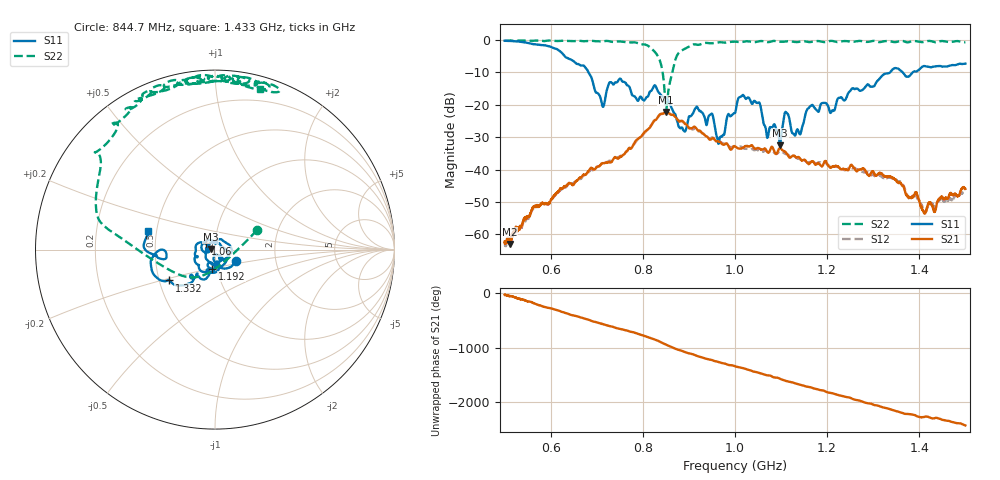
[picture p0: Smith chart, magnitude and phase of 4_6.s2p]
!Agilent Technologies,E8364B,US42250235,A.06.04.32
!Agilent E8364B: A.06.04.32
!Date: Thursday, October 01, 2020 11:19:05
!Correction: S11(Full 2 Port(1,2)) S21(Full 2 Port(1,2)) S12(Full 2 Port(1,2)) S22(Full 2 Port(1,2))
!S2P File: Measurements: S11, S21, S12, S22:
# Hz S  dB  R 50
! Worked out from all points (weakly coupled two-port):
!   2650 points, 500 MHz to 1.5 GHz, reference 50 ohm
!   highest |S21| = -22.19 dB at 849.6 MHz (marker M1); lowest = -62.9 dB at 511.3 MHz (marker M2)
!   lowest |S11| = -32.5 dB at 1.098 GHz (marker M3), VSWR 1.05, Z = 47.7 + j0.082 ohm
!   |S11| at or under -10 dB: 682 MHz to 1.336 GHz (654.2 MHz wide, 64.8 % of centre); 1.364 GHz to 1.385 GHz (21.28 MHz wide, 1.55 % of centre)
!   |S22| runs from -21.4 to -0.1 dB; largest |S21 - S12| = 0.007
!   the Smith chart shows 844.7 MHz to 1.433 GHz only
!   S11 on the Smith chart (normalised r, x): 844.7 MHz: 1.25, -0.16; 1.06 GHz: 0.90, +0.06; 1.192 GHz: 0.95, -0.20; 1.332 GHz: 0.57, -0.21; 1.433 GHz: 0.45, +0.11
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5e8  -0.19 -175.0  -62.26 -22.0  -62.27 -25.3  -0.22 136.3
5.11325e8  -0.25 178.6  -62.95 -46.4  -62.30 -48.7  -0.12 136.7
6.000378e8  -2.07 119.5  -49.44 87.2  -49.81 95.2  -0.14 129.3
6.668554e8  -7.86 74.5  -42.36 -86.5  -42.69 -74.0  -0.28 121.5
7.129105e8  -20.53 74.2  -37.97 155.0  -37.74 164.2  -0.39 111.5
7.499056e8  -11.93 69.9  -36.18 67.1  -35.85 73.0  -0.41 107.0
8.053983e8  -18.21 45.7  -28.22 -70.4  -28.43 -65.6  -1.38 82.0
8.337108e8  -16.03 -10.7  -23.45 -157.4  -23.65 -157.1  -5.27 46.6
8.446584e8  -17.63 -27.7  -22.68 158.7  -22.75 158.9  -11.80 24.8
8.495659e8  -17.63 -42.3  -22.19 138.2  -22.21 138.1  -20.39 -21.8
8.83541e8  -26.97 133.9  -24.89 23.4  -25.10 18.5  -3.26 163.3
9.17516e8  -20.60 -6.6  -27.52 -74.5  -27.75 -78.6  -1.43 138.5
9.669687e8  -30.13 -71.8  -31.40 165.9  -31.37 159.3  -0.65 121.7
1.000189e9  -22.47 -78.9  -32.82 94.5  -32.87 84.6  -0.48 118.1
1.060211e9  -24.03 147.0  -33.78 -45.4  -34.46 -54.0  -0.31 111.4
1.097584e9  -32.52 177.9  -33.36 -135.1  -34.31 -143.6  -0.52 104.4
1.166667e9  -20.08 -65.9  -37.42 59.4  -37.37 53.5  -0.53 94.5
1.192337e9  -19.38 -97.6  -38.14 6.3  -37.60 -4.0  -0.62 97.2
1.332012e9  -10.26 -145.9  -42.24 33.8  -42.52 37.0  -0.25 82.5
1.333522e9  -10.21 -146.5  -42.19 30.2  -42.44 33.7  -0.26 83.1
1.432805e9  -8.19 164.9  -53.10 -145.7  -51.87 -146.7  -0.64 74.2
1.5e9  -7.26 140.4  -45.96 81.7  -46.61 83.4  -0.64 60.7
